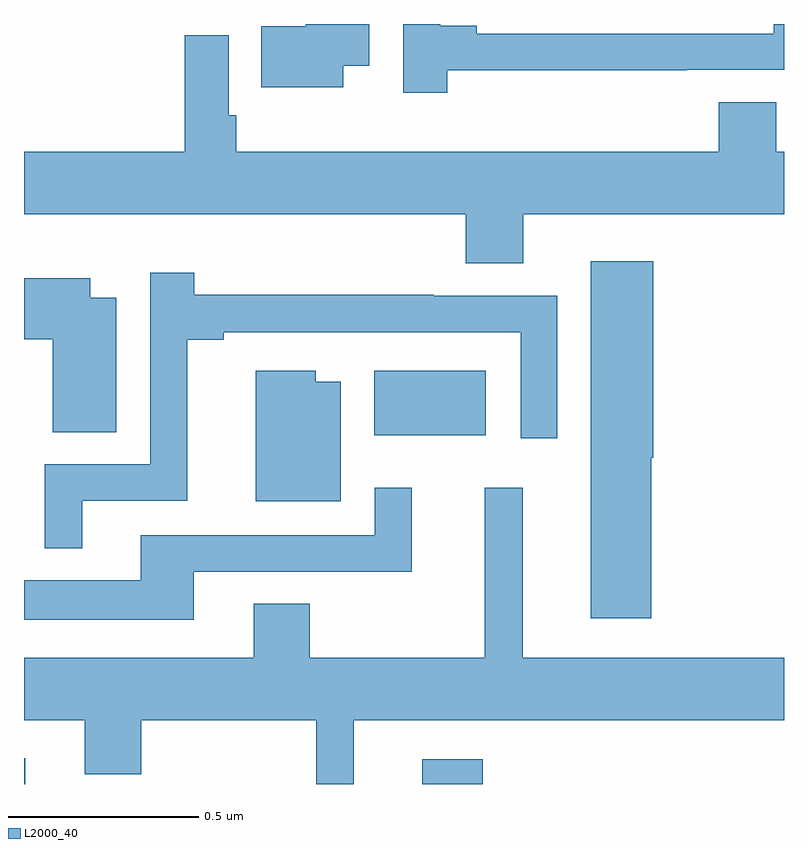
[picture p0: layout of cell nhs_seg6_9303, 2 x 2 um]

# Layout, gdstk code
import gdstk
lib = gdstk.Library(unit=1e-6, precision=1e-09)
def R(c, l, rs):  # rectangles x0, y0, x1, y1
    for r in rs: c.add(gdstk.rectangle(r[:2], r[2:], *l))
def P(c, l, *ps):  # polygons
    for p in ps: c.add(gdstk.Polygon(p, *l))
L2000_40 = (2000, 40)

nhs_seg6_9303 = lib.new_cell('nhs_seg6_9303')
R(nhs_seg6_9303, L2000_40, [(232,948.5,232.003,948.568), (233.048,948.5,233.207,948.565), (232.922,949.418,233.215,949.588)])
P(nhs_seg6_9303, L2000_40, [(232.84,950.39),(232.909,950.39),(232.909,950.5),(232.742,950.5),(232.742,950.494),(232.624,950.494),(232.624,950.333),(232.84,950.333)],
  [(233.114,950.378),(233.744,950.378),(233.744,950.379),(234,950.379),(234,950.5),(233.973,950.5),(233.973,950.475),(233.191,950.475),(233.191,950.495),(233.096,950.495),(233.096,950.5),(232.998,950.5),(232.998,950.319),(233.114,950.319)],
  [(233.314,950),(234,950),(234,950.164),(233.98,950.164),(233.98,950.294),(233.828,950.294),(233.828,950.164),(232.559,950.164),(232.559,950.26),(232.539,950.26),(232.539,950.47),(232.423,950.47),(232.423,950.164),(232,950.164),(232,950),(233.162,950),(233.162,949.87),(233.314,949.87)],
  [(233.651,949.359),(233.656,949.359),(233.656,949.876),(233.492,949.876),(233.492,948.936),(233.651,948.936)],
  [(232.153,949.245),(232.43,949.245),(232.43,949.669),(232.525,949.669),(232.525,949.689),(233.307,949.689),(233.307,949.41),(233.403,949.41),(233.403,949.785),(233.078,949.785),(233.078,949.787),(232.448,949.787),(232.448,949.846),(232.332,949.846),(232.332,949.341),(232.055,949.341),(232.055,949.121),(232.153,949.121)],
  [(232.243,949.78),(232.174,949.78),(232.174,949.831),(232,949.831),(232,949.67),(232.076,949.67),(232.076,949.426),(232.243,949.426)],
  [(232.834,949.558),(232.768,949.558),(232.768,949.588),(232.61,949.588),(232.61,949.244),(232.834,949.244)],
  [(232.447,949.059),(233.021,949.059),(233.021,949.279),(232.923,949.279),(232.923,949.155),(232.307,949.155),(232.307,949.036),(232,949.036),(232,948.932),(232.447,948.932)],
  [(232.868,948.668),(234,948.668),(234,948.832),(233.312,948.832),(233.312,949.279),(233.213,949.279),(233.213,948.832),(232.752,948.832),(232.752,948.974),(232.604,948.974),(232.604,948.832),(232,948.832),(232,948.668),(232.16,948.668),(232.16,948.526),(232.308,948.526),(232.308,948.668),(232.769,948.668),(232.769,948.5),(232.868,948.5)])

lib.write_gds('nhs_seg6_9303.gds')
